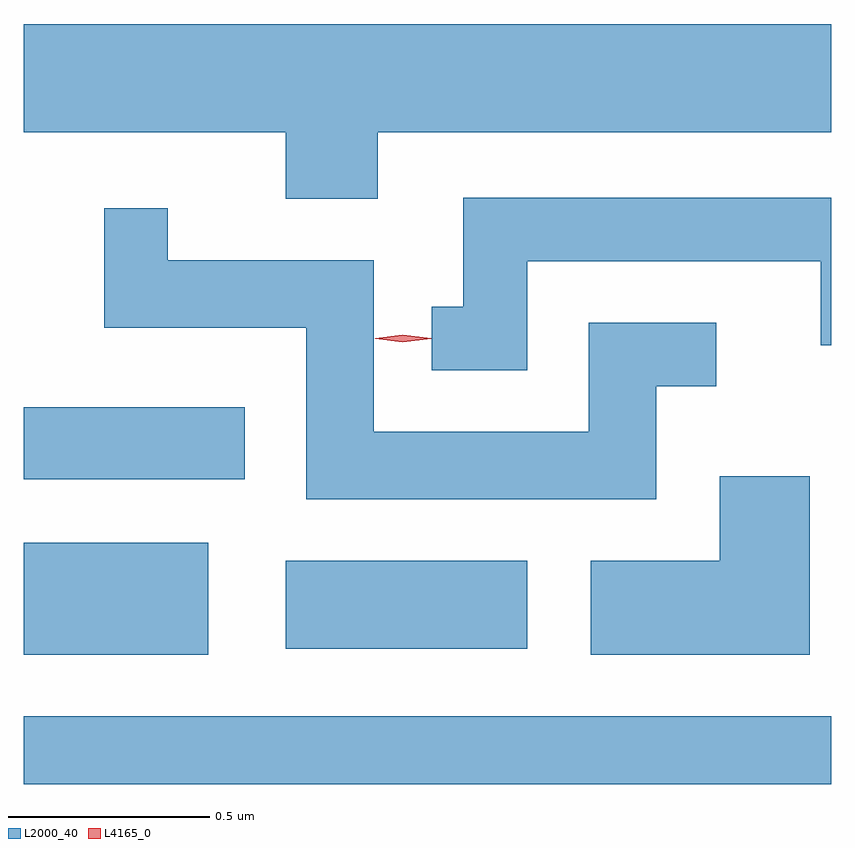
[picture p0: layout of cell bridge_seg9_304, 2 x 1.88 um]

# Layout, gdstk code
import gdstk
lib = gdstk.Library(unit=1e-6, precision=1e-09)
def R(c, l, rs):  # rectangles x0, y0, x1, y1
    for r in rs: c.add(gdstk.rectangle(r[:2], r[2:], *l))
def P(c, l, *ps):  # polygons
    for p in ps: c.add(gdstk.Polygon(p, *l))
L2000_40 = (2000, 40)
L4165_0 = (4165, 0)

bridge_seg9_304 = lib.new_cell('bridge_seg9_304')
R(bridge_seg9_304, L2000_40, [(1004.182,2045.701,1006.182,2045.869), (1004.182,2046.021,1004.639,2046.299), (1004.831,2046.036,1005.429,2046.254), (1004.182,2046.456,1004.729,2046.634)])
P(bridge_seg9_304, L2000_40, [(1005.059,2047.316),(1006.182,2047.316),(1006.182,2047.584),(1004.182,2047.584),(1004.182,2047.316),(1004.831,2047.316),(1004.831,2047.151),(1005.059,2047.151)],
  [(1005.429,2046.996),(1006.156,2046.996),(1006.156,2046.788),(1006.182,2046.788),(1006.182,2047.154),(1005.271,2047.154),(1005.271,2046.884),(1005.193,2046.884),(1005.193,2046.726),(1005.429,2046.726)],
  [(1005.749,2046.686),(1005.898,2046.686),(1005.898,2046.844),(1005.581,2046.844),(1005.581,2046.574),(1005.049,2046.574),(1005.049,2046.999),(1004.539,2046.999),(1004.539,2047.128),(1004.381,2047.128),(1004.381,2046.831),(1004.881,2046.831),(1004.881,2046.406),(1005.749,2046.406)],
  [(1006.129,2046.464),(1005.906,2046.464),(1005.906,2046.254),(1005.586,2046.254),(1005.586,2046.021),(1006.129,2046.021)])
P(bridge_seg9_304, L4165_0, [(1005.121,2046.795),(1005.052,2046.804),(1005.052,2046.804),(1005.052,2046.805),(1005.121,2046.814),(1005.191,2046.805),(1005.191,2046.805),(1005.191,2046.804)])

lib.write_gds('bridge_seg9_304.gds')
